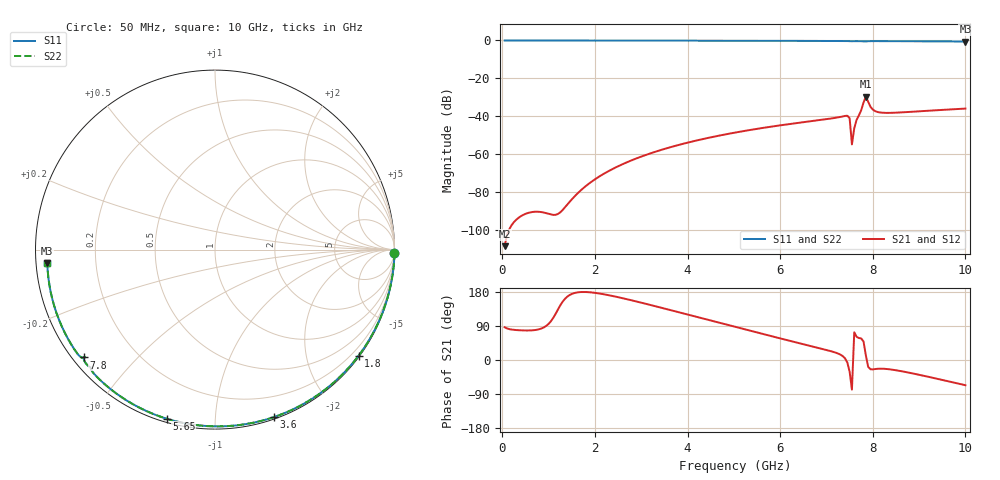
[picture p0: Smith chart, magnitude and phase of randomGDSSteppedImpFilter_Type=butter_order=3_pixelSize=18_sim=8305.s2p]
! freq	dB(S11)	phase(S11)	dB(S12)	phase(S12)
!  dB(S21)	phase(S21)	dB(S22)	phase(S22)
!S-par simulation data
#  GHz  S  DB  R 50
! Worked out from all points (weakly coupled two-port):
!   200 points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, 50 MHz to 10 GHz, reference 50 ohm
!   highest |S21| = -29.61 dB at 7.85 GHz (marker M1); lowest = -108.5 dB at 50 MHz (marker M2)
!   lowest |S11| = -0.6 dB at 10 GHz (marker M3), VSWR 30.92, Z = 1.62 - j2.03 ohm
!   |S11| at or under -10 dB: nowhere
!   |S22| runs from -0.6 to 0.0 dB; largest |S21 - S12| = 0
!   S11 on the Smith chart (normalised r, x): 50 MHz: open; 1.8 GHz: 0.03, -3.04; 3.6 GHz: 0.02, -1.41; 5.65 GHz: 0.02, -0.75; 7.8 GHz: 0.03, -0.36; 10 GHz: 0.03, -0.04
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0.05  -0.00 -1.0  -108.50 86.3  -108.50 86.3  -0.00 -1.0
1.65  -0.04 -33.5  -80.07 178.9  -80.07 178.9  -0.04 -33.5
1.75  -0.05 -35.5  -77.87 179.5  -77.87 179.5  -0.05 -35.5
1.8  -0.05 -36.4  -76.86 179.4  -76.86 179.4  -0.05 -36.4
2.5  -0.06 -50.0  -66.36 165.8  -66.36 165.8  -0.06 -50.1
3.4  -0.09 -66.9  -57.96 139.0  -57.96 139.0  -0.09 -66.9
3.6  -0.09 -70.6  -56.51 132.7  -56.51 132.7  -0.09 -70.6
5.05  -0.15 -96.0  -48.48 86.7  -48.48 86.7  -0.15 -96.0
5.65  -0.18 -106.0  -46.04 67.9  -46.04 67.9  -0.18 -106.0
6.7  -0.24 -123.0  -42.48 35.8  -42.48 35.8  -0.24 -123.0
7.45  -0.32 -135.3  -39.70 -6.3  -39.70 -6.3  -0.32 -135.3
7.5  -0.37 -136.1  -40.96 -30.9  -40.96 -30.9  -0.36 -136.1
7.55  -0.41 -136.5  -54.81 -78.1  -54.81 -78.1  -0.41 -136.6
7.6  -0.37 -137.1  -46.33 73.1  -46.33 73.1  -0.38 -137.2
7.65  -0.36 -138.0  -41.92 61.3  -41.92 61.3  -0.36 -138.0
7.75  -0.39 -139.8  -36.80 57.0  -36.80 57.0  -0.40 -139.9
7.8  -0.47 -140.6  -32.77 48.9  -32.77 48.9  -0.48 -140.7
7.85  -0.53 -140.4  -29.61 12.6  -29.61 12.6  -0.55 -140.3
7.95  -0.35 -142.0  -34.96 -24.4  -34.96 -24.4  -0.35 -141.9
8  -0.34 -142.9  -36.43 -24.7  -36.43 -24.7  -0.34 -142.9
8.35  -0.37 -148.7  -38.20 -24.4  -38.20 -24.4  -0.37 -148.7
10  -0.56 -175.4  -35.93 -66.5  -35.93 -66.5  -0.56 -175.4
